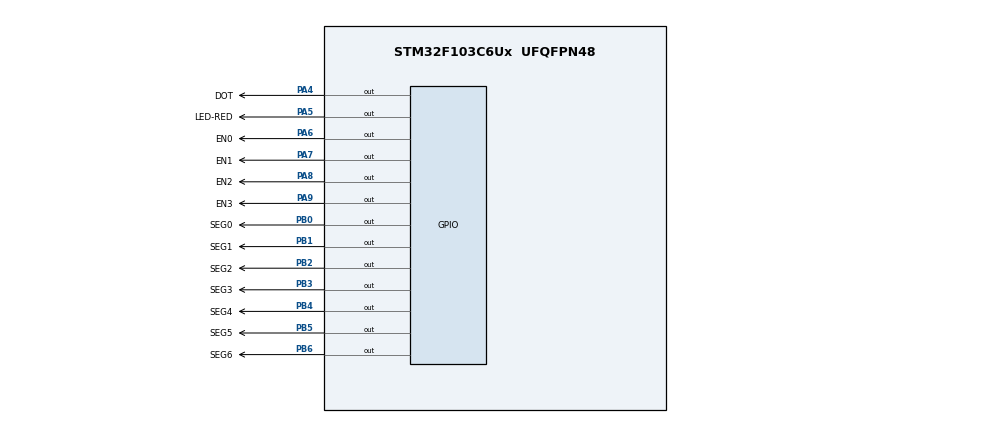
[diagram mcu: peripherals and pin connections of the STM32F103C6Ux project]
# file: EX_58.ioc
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Mcu.Family=STM32F1
Mcu.Name=STM32F103C6Ux
Mcu.Package=UFQFPN48
NVIC.PriorityGroup=NVIC_PRIORITYGROUP_4
NVIC.TIM2_IRQn=true\:0\:0\:false\:false\:true\:true\:true
PA4.GPIO_Label=DOT
PA4.Signal=GPIO_Output
PA5.GPIO_Label=LED-RED
PA5.Signal=GPIO_Output
PA6.GPIO_Label=EN0
PA6.Signal=GPIO_Output
PA7.GPIO_Label=EN1
PA7.Signal=GPIO_Output
PA8.GPIO_Label=EN2
PA8.Signal=GPIO_Output
PA9.GPIO_Label=EN3
PA9.Signal=GPIO_Output
PB0.GPIO_Label=SEG0
PB0.Signal=GPIO_Output
PB1.GPIO_Label=SEG1
PB1.Signal=GPIO_Output
PB2.GPIO_Label=SEG2
PB2.Signal=GPIO_Output
PB3.GPIO_Label=SEG3
PB3.Signal=GPIO_Output
PB4.GPIO_Label=SEG4
PB4.Signal=GPIO_Output
PB5.GPIO_Label=SEG5
PB5.Signal=GPIO_Output
PB6.GPIO_Label=SEG6
PB6.Signal=GPIO_Output
ProjectManager.HeapSize=0x200
ProjectManager.StackSize=0x400
ProjectManager.TargetToolchain=STM32CubeIDE
RCC.APB1Freq_Value=8000000
RCC.APB2Freq_Value=8000000
TIM2.Period=9
TIM2.Prescaler=7999
VP_SYS_VS_ND.Mode=No_Debug
VP_TIM2_VS_ClockSourceINT.Mode=Internal
board=custom

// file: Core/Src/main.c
/* USER CODE BEGIN Header */
/**
  ******************************************************************************
  * @file           : main.c
  * @brief          : Main program body
  ******************************************************************************
  * @attention
  *
  * Copyright (c) 2026 STMicroelectronics.
  * All rights reserved.
  *
  * This software is licensed under terms that can be found in the LICENSE file
  * in the root directory of this software component.
  * If no LICENSE file comes with this software, it is provided AS-IS.
  *
  ******************************************************************************
  */
/* USER CODE END Header */
#include "main.h"

TIM_HandleTypeDef htim2;

void SystemClock_Config(void);
static void MX_GPIO_Init(void);
static void MX_TIM2_Init(void);

/* USER CODE BEGIN 0 */
void display7SEG(int num) {
    // 1. Tắt toàn bộ 7 đoạn trước (Anode chung: SET = TẮT)
    HAL_GPIO_WritePin(GPIOB, SEG0_Pin|SEG1_Pin|SEG2_Pin|SEG3_Pin
                           |SEG4_Pin|SEG5_Pin|SEG6_Pin, GPIO_PIN_SET);

    // 2. Bật đúng các đoạn cần hiển thị (RESET = S�?NG)
    switch (num) {
        case 0: // a, b, c, d, e, f
            HAL_GPIO_WritePin(GPIOB, SEG0_Pin|SEG1_Pin|SEG2_Pin|SEG3_Pin|SEG4_Pin|SEG5_Pin, GPIO_PIN_RESET);
            break;
        case 1: // b, c
            HAL_GPIO_WritePin(GPIOB, SEG1_Pin|SEG2_Pin, GPIO_PIN_RESET);
            break;
        case 2: // a, b, d, e, g
            HAL_GPIO_WritePin(GPIOB, SEG0_Pin|SEG1_Pin|SEG3_Pin|SEG4_Pin|SEG6_Pin, GPIO_PIN_RESET);
            break;
        case 3: // a, b, c, d, g
            HAL_GPIO_WritePin(GPIOB, SEG0_Pin|SEG1_Pin|SEG2_Pin|SEG3_Pin|SEG6_Pin, GPIO_PIN_RESET);
            break;
        case 4: // b, c, f, g
            HAL_GPIO_WritePin(GPIOB, SEG1_Pin|SEG2_Pin|SEG5_Pin|SEG6_Pin, GPIO_PIN_RESET);
            break;
        case 5: // a, c, d, f, g
            HAL_GPIO_WritePin(GPIOB, SEG0_Pin|SEG2_Pin|SEG3_Pin|SEG5_Pin|SEG6_Pin, GPIO_PIN_RESET);
            break;
        case 6: // a, c, d, e, f, g
            HAL_GPIO_WritePin(GPIOB, SEG0_Pin|SEG2_Pin|SEG3_Pin|SEG4_Pin|SEG5_Pin|SEG6_Pin, GPIO_PIN_RESET);
            break;
        case 7: // a, b, c
            HAL_GPIO_WritePin(GPIOB, SEG0_Pin|SEG1_Pin|SEG2_Pin, GPIO_PIN_RESET);
            break;
        case 8: // a, b, c, d, e, f, g
            HAL_GPIO_WritePin(GPIOB, SEG0_Pin|SEG1_Pin|SEG2_Pin|SEG3_Pin|SEG4_Pin|SEG5_Pin|SEG6_Pin, GPIO_PIN_RESET);
            break;
        case 9: // a, b, c, d, f, g
            HAL_GPIO_WritePin(GPIOB, SEG0_Pin|SEG1_Pin|SEG2_Pin|SEG3_Pin|SEG5_Pin|SEG6_Pin, GPIO_PIN_RESET);
            break;
        default:
            break;
    }
}

// =========================EX5==================================
// Khai báo biến cho Bài 5 (Đồng hồ)
const int MAX_LED = 4;                 // Số lượng LED 7 đoạn
int index_led = 0;                     // Vị trí LED đang được quét
int led_buffer[4] = {1, 5, 0, 8};      // Khởi tạo ban đầu hiển thị 15:08

int hour = 15;                         // Giờ ban đầu
int minute = 8;                        // Phút ban đầu
int second = 50;                       // Giây ban đầu (đặt 50s để test nhanh sang 15:09)

// Hàm cập nhật mảng led_buffer theo hour và minute
void updateClockBuffer() {
    led_buffer[0] = hour / 10;   // Hàng chục của Giờ
    led_buffer[1] = hour % 10;   // Hàng đơn vị của Giờ
    led_buffer[2] = minute / 10; // Hàng chục của Phút
    led_buffer[3] = minute % 10; // Hàng đơn vị của Phút
}

// ==============================================================
void update7SEG(int index) {
    // Tắt tất cả 4 transistor điều khiển trước để chống lem (PNP: SET = TẮT)
    HAL_GPIO_WritePin(GPIOA, EN0_Pin | EN1_Pin | EN2_Pin | EN3_Pin, GPIO_PIN_SET);

    switch (index) {
        case 0:
            // Bật LED thứ 1 và hiển thị dữ liệu ở phần tử 0
            HAL_GPIO_WritePin(GPIOA, EN0_Pin, GPIO_PIN_RESET);
            display7SEG(led_buffer[0]);
            break;
        case 1:
            // Bật LED thứ 2 và hiển thị dữ liệu ở phần tử 1
            HAL_GPIO_WritePin(GPIOA, EN1_Pin, GPIO_PIN_RESET);
            display7SEG(led_buffer[1]);
            break;
        case 2:
            // Bật LED thứ 3 và hiển thị dữ liệu ở phần tử 2
            HAL_GPIO_WritePin(GPIOA, EN2_Pin, GPIO_PIN_RESET);
            display7SEG(led_buffer[2]);
            break;
        case 3:
            // Bật LED thứ 4 và hiển thị dữ liệu ở phần tử 3
            HAL_GPIO_WritePin(GPIOA, EN3_Pin, GPIO_PIN_RESET);
            display7SEG(led_buffer[3]);
            break;
        default:
            break;
    }
}
// =========================EX6==================================
//int timer0_counter = 0;
//int timer0_flag = 0;
//int TIMER_CYCLE = 10;
//
//void setTimer0(int duration){
//    timer0_counter = duration / TIMER_CYCLE;
//    timer0_flag = 0;
//}
//
//void timer_run(){
//    if(timer0_counter > 0){
//        timer0_counter--;
//        if(timer0_counter == 0) timer0_flag = 1;
//    }
//}
// ==============================================================

//// =========================EX7==================================
//int timer0_counter = 0;
//int timer0_flag = 0;
//
//int timer1_counter = 0;
//int timer1_flag = 0;
//
//int TIMER_CYCLE = 10; // Chu kỳ ngắt 10ms
//
//void setTimer0(int duration) {
//    timer0_counter = duration / TIMER_CYCLE;
//    timer0_flag = 0;
//}
//
//void setTimer1(int duration) {
//    timer1_counter = duration / TIMER_CYCLE;
//    timer1_flag = 0;
//}
//
//void timer_run() {
//    // Đếm ngược cho Timer 0 (Đồng hồ)
//    if (timer0_counter > 0) {
//        timer0_counter--;
//        if (timer0_counter == 0) timer0_flag = 1;
//    }
//    // Đếm ngược cho Timer 1 (LED DOT)
//    if (timer1_counter > 0) {
//        timer1_counter--;
//        if (timer1_counter == 0) timer1_flag = 1;
//    }
//}
//// ==============================================================

// =========================EX8==================================
int timer0_counter = 0;
int timer0_flag = 0;

int timer1_counter = 0;
int timer1_flag = 0;

int timer2_counter = 0; // THÊM: Timer cho quét LED
int timer2_flag = 0;

int TIMER_CYCLE = 10; // Chu kỳ ngắt 10ms

void setTimer0(int duration) {
    timer0_counter = duration / TIMER_CYCLE;
    timer0_flag = 0;
}

void setTimer1(int duration) {
    timer1_counter = duration / TIMER_CYCLE;
    timer1_flag = 0;
}

// THÊM: Hàm setTimer2
void setTimer2(int duration) {
    timer2_counter = duration / TIMER_CYCLE;
    timer2_flag = 0;
}

void timer_run() {
    // Timer 0: Đồng hồ (1000ms)
    if (timer0_counter > 0) {
        timer0_counter--;
        if (timer0_counter == 0) timer0_flag = 1;
    }
    // Timer 1: LED DOT (1000ms)
    if (timer1_counter > 0) {
        timer1_counter--;
        if (timer1_counter == 0) timer1_flag = 1;
    }
    // THÊM: Timer 2 quét LED 7 đoạn (250ms)
    if (timer2_counter > 0) {
        timer2_counter--;
        if (timer2_counter == 0) timer2_flag = 1;
    }
}
// ==============================================================
/* USER CODE END 0 */

int main(void)
{

  /* MCU Configuration--------------------------------------------------------*/

  /* Reset of all peripherals, Initializes the Flash interface and the Systick. */
  HAL_Init();

  /* Configure the system clock */
  SystemClock_Config();

  /* Initialize all configured peripherals */
  MX_GPIO_Init();
  MX_TIM2_Init();
  /* USER CODE BEGIN 2 */
  HAL_TIM_Base_Start_IT(&htim2);
  // =========================EX6==================================
  setTimer0(1000);
  // ==============================================================

  // =========================EX7==================================
  setTimer1(1000);
  // ==============================================================

  // =========================EX8==================================
  setTimer2(250);
  // ==============================================================
  /* USER CODE END 2 */

  /* Infinite loop */
  while (1)
  {

    /* USER CODE BEGIN 3 */

// =========================EX5==================================
//	      // Cập nhật đếm đồng hồ
//	      second++;
//	      if ( second >= 60) {
//	    	  second = 0;
//	    	  minute ++;
//	      }
//	      if( minute >= 60) {
//	    	   minute = 0;
//	    	   hour ++;
//	      }
//	      if( hour >=24){
//	    	  hour = 0;
//	      }
//	      updateClockBuffer ();
//	      HAL_Delay (1000) ;
// ==============================================================
// =========================EX6==================================
	  if (timer0_flag == 1) {
	            setTimer0(1000); // Đặt lại timer đếm 1s cho lần kế tiếp

	            // Giữ nguyên logic tăng giờ/phút/giây của Bài 5
	            second++;
	            if (second >= 60) {
	                second = 0;
	                minute++;
	            }
	            if (minute >= 60) {
	                minute = 0;
	                hour++;
	            }
	            if (hour >= 24) {
	                hour = 0;
	            }
	            updateClockBuffer();
	        }
	        // BỎ DÒNG: HAL_Delay(1000);
	  // =========================EX7==================================
	  if (timer1_flag == 1) {
	  	            setTimer1(1000);
	  	            HAL_GPIO_TogglePin(GPIOA, DOT_Pin); // Nháy LED DOT trong main
	  	  }
	  // ==============================================================

	  // =========================EX8==================================
	        if (timer2_flag == 1) {
	            setTimer2(250); // Cài lại timer quét LED chu kỳ 250ms

	            // Cập nhật hiển thị cho LED hiện tại
	            update7SEG(index_led);

	            // Chuyển sang LED tiếp theo cho lần quét sau
	            index_led++;
	            if (index_led >= MAX_LED) {
	                index_led = 0;
	            }
	        }
	  // ==============================================================
  }
// ==============================================================
  /* USER CODE END 3 */
}

void SystemClock_Config(void)
{
  RCC_OscInitTypeDef RCC_OscInitStruct = {0};
  RCC_ClkInitTypeDef RCC_ClkInitStruct = {0};

  /** Initializes the RCC Oscillators according to the specified parameters
  * in the RCC_OscInitTypeDef structure.
  */
  RCC_OscInitStruct.OscillatorType = RCC_OSCILLATORTYPE_HSI;
  RCC_OscInitStruct.HSIState = RCC_HSI_ON;
  RCC_OscInitStruct.HSICalibrationValue = RCC_HSICALIBRATION_DEFAULT;
  RCC_OscInitStruct.PLL.PLLState = RCC_PLL_NONE;
  if (HAL_RCC_OscConfig(&RCC_OscInitStruct) != HAL_OK)
  {
    Error_Handler();
  }
  /** Initializes the CPU, AHB and APB buses clocks
  */
  RCC_ClkInitStruct.ClockType = RCC_CLOCKTYPE_HCLK|RCC_CLOCKTYPE_SYSCLK
                              |RCC_CLOCKTYPE_PCLK1|RCC_CLOCKTYPE_PCLK2;
  RCC_ClkInitStruct.SYSCLKSource = RCC_SYSCLKSOURCE_HSI;
  RCC_ClkInitStruct.AHBCLKDivider = RCC_SYSCLK_DIV1;
  RCC_ClkInitStruct.APB1CLKDivider = RCC_HCLK_DIV1;
  RCC_ClkInitStruct.APB2CLKDivider = RCC_HCLK_DIV1;

  if (HAL_RCC_ClockConfig(&RCC_ClkInitStruct, FLASH_LATENCY_0) != HAL_OK)
  {
    Error_Handler();
  }
}

static void MX_TIM2_Init(void)
{

  TIM_ClockConfigTypeDef sClockSourceConfig = {0};
  TIM_MasterConfigTypeDef sMasterConfig = {0};

  htim2.Instance = TIM2;
  htim2.Init.Prescaler = 7999;
  htim2.Init.CounterMode = TIM_COUNTERMODE_UP;
  htim2.Init.Period = 9;
  htim2.Init.ClockDivision = TIM_CLOCKDIVISION_DIV1;
  htim2.Init.AutoReloadPreload = TIM_AUTORELOAD_PRELOAD_DISABLE;
  if (HAL_TIM_Base_Init(&htim2) != HAL_OK)
  {
    Error_Handler();
  }
  sClockSourceConfig.ClockSource = TIM_CLOCKSOURCE_INTERNAL;
  if (HAL_TIM_ConfigClockSource(&htim2, &sClockSourceConfig) != HAL_OK)
  {
    Error_Handler();
  }
  sMasterConfig.MasterOutputTrigger = TIM_TRGO_RESET;
  sMasterConfig.MasterSlaveMode = TIM_MASTERSLAVEMODE_DISABLE;
  if (HAL_TIMEx_MasterConfigSynchronization(&htim2, &sMasterConfig) != HAL_OK)
  {
    Error_Handler();
  }

}

static void MX_GPIO_Init(void)
{
  GPIO_InitTypeDef GPIO_InitStruct = {0};

  /* GPIO Ports Clock Enable */
  __HAL_RCC_GPIOA_CLK_ENABLE();
  __HAL_RCC_GPIOB_CLK_ENABLE();

  /*Configure GPIO pin Output Level */
  HAL_GPIO_WritePin(GPIOA, DOT_Pin|LED_RED_Pin|EN0_Pin|EN1_Pin
                          |EN2_Pin|EN3_Pin, GPIO_PIN_RESET);

  /*Configure GPIO pin Output Level */
  HAL_GPIO_WritePin(GPIOB, SEG0_Pin|SEG1_Pin|SEG2_Pin|SEG3_Pin
                          |SEG4_Pin|SEG5_Pin|SEG6_Pin, GPIO_PIN_RESET);

  /*Configure GPIO pins : DOT_Pin LED_RED_Pin EN0_Pin EN1_Pin
                           EN2_Pin EN3_Pin */
  GPIO_InitStruct.Pin = DOT_Pin|LED_RED_Pin|EN0_Pin|EN1_Pin
                          |EN2_Pin|EN3_Pin;
  GPIO_InitStruct.Mode = GPIO_MODE_OUTPUT_PP;
  GPIO_InitStruct.Pull = GPIO_NOPULL;
  GPIO_InitStruct.Speed = GPIO_SPEED_FREQ_LOW;
  HAL_GPIO_Init(GPIOA, &GPIO_InitStruct);

  /*Configure GPIO pins : SEG0_Pin SEG1_Pin SEG2_Pin SEG3_Pin
                           SEG4_Pin SEG5_Pin SEG6_Pin */
  GPIO_InitStruct.Pin = SEG0_Pin|SEG1_Pin|SEG2_Pin|SEG3_Pin
                          |SEG4_Pin|SEG5_Pin|SEG6_Pin;
  GPIO_InitStruct.Mode = GPIO_MODE_OUTPUT_PP;
  GPIO_InitStruct.Pull = GPIO_NOPULL;
  GPIO_InitStruct.Speed = GPIO_SPEED_FREQ_LOW;
  HAL_GPIO_Init(GPIOB, &GPIO_InitStruct);

}

/* USER CODE BEGIN 4 */
// =========================EX5==================================
int counter_led = 25;  // 25 * 10ms = 250ms đổi LED 1 lần -> 4 LED mất 1000ms (tần số 1Hz)

// =========================EX56==================================
//int counter_dot = 100; // 100 * 10ms = 1000ms (1s) chớp tắt LED DOT 1 lần
// ==============================================================

// 567
//void HAL_TIM_PeriodElapsedCallback(TIM_HandleTypeDef *htim) {
//    if (htim->Instance == TIM2) {
//
//    	timer_run(); // =============EX6=============

// =========================EX56==================================
//        // 1. Chớp tắt 2 LED DOT (PA4) mỗi 1 giây
//        counter_dot--;
//        if (counter_dot <= 0) {
//            counter_dot = 100;
//            HAL_GPIO_TogglePin(GPIOA, DOT_Pin);
//        }
// =============================567=================================
//        // 2. Quét LED 7 đoạn (Chuyển LED mỗi 250ms)
//        counter_led--;
//        if (counter_led <= 0) {
//            counter_led = 25;
//
//            // Cập nhật giá trị lên LED hiện tại
//            update7SEG(index_led);
//
//            // Tăng vị trí LED cho lần ngắt tiếp theo
//            index_led++;
//            if (index_led >= MAX_LED) {
//                index_led = 0;
//            }
//        }
//    }
//}
// ==============================================================

// =========================EX8==================================

void HAL_TIM_PeriodElapsedCallback(TIM_HandleTypeDef *htim) {
    if (htim->Instance == TIM2) {
    	timer_run(); // Ngắt chỉ làm nhiệm vụ duy nhất là đếm thời gian
    }
}
// ==============================================================

/* USER CODE END 4 */

void Error_Handler(void)
{
  __disable_irq();
  while (1)
  {
  }
}
